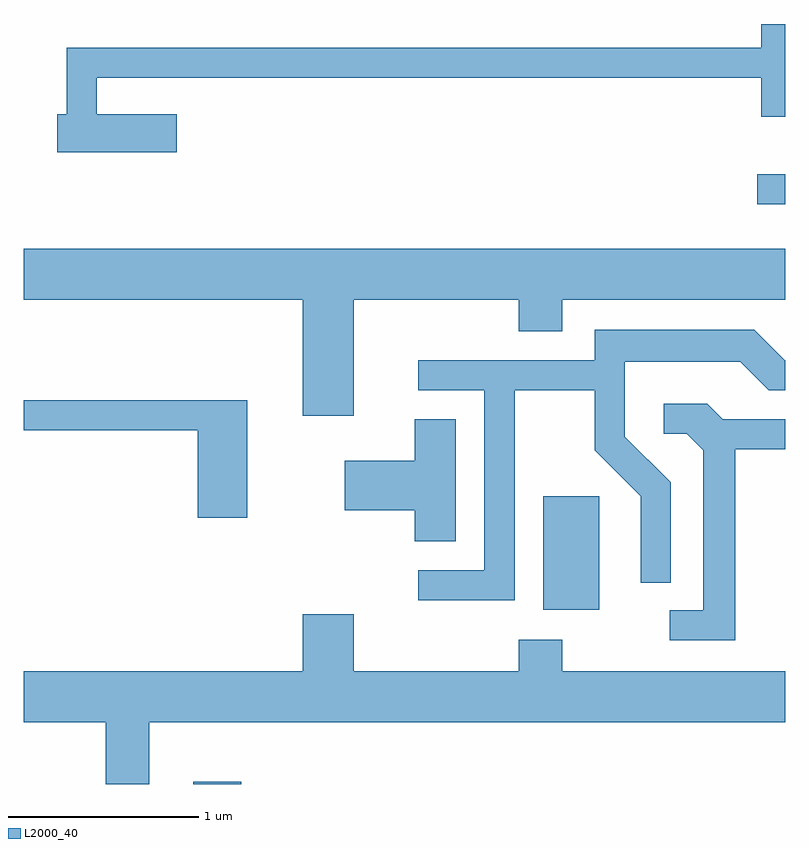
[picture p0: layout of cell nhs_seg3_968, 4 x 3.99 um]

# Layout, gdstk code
import gdstk
lib = gdstk.Library(unit=1e-6, precision=1e-09)
def R(c, l, rs):  # rectangles x0, y0, x1, y1
    for r in rs: c.add(gdstk.rectangle(r[:2], r[2:], *l))
def P(c, l, *ps):  # polygons
    for p in ps: c.add(gdstk.Polygon(p, *l))
L2000_40 = (2000, 40)

nhs_seg3_968 = lib.new_cell('nhs_seg3_968')
R(nhs_seg3_968, L2000_40, [(214.501,1147.892,214.754,1147.904), (216.341,1148.806,216.634,1149.404), (217.463,1150.936,217.611,1151.094)])
P(nhs_seg3_968, L2000_40, [(214.414,1151.409),(213.994,1151.409),(213.994,1151.601),(217.486,1151.601),(217.486,1151.396),(217.611,1151.396),(217.611,1151.884),(217.486,1151.884),(217.486,1151.759),(213.836,1151.759),(213.836,1151.409),(213.786,1151.409),(213.786,1151.211),(214.414,1151.211)],
  [(215.344,1150.436),(216.211,1150.436),(216.211,1150.271),(216.439,1150.271),(216.439,1150.436),(217.611,1150.436),(217.611,1150.704),(213.611,1150.704),(213.611,1150.436),(215.076,1150.436),(215.076,1149.826),(215.344,1149.826)],
  [(216.189,1149.961),(216.611,1149.961),(216.611,1149.644),(216.851,1149.404),(216.851,1148.948),(217.009,1148.948),(217.009,1149.477),(216.769,1149.717),(216.769,1150.111),(217.374,1150.111),(217.524,1149.961),(217.611,1149.961),(217.611,1150.119),(217.607,1150.119),(217.447,1150.279),(216.611,1150.279),(216.611,1150.119),(215.683,1150.119),(215.683,1149.961),(216.031,1149.961),(216.031,1149.014),(215.683,1149.014),(215.683,1148.856),(216.189,1148.856)],
  [(214.784,1149.909),(213.611,1149.909),(213.611,1149.751),(214.526,1149.751),(214.526,1149.291),(214.784,1149.291)],
  [(217.349,1149.651),(217.611,1149.651),(217.611,1149.809),(217.282,1149.809),(217.202,1149.889),(216.973,1149.889),(216.973,1149.731),(217.094,1149.731),(217.181,1149.644),(217.181,1148.804),(217.003,1148.804),(217.003,1148.646),(217.349,1148.646)],
  [(215.879,1149.809),(215.666,1149.809),(215.666,1149.589),(215.296,1149.589),(215.296,1149.331),(215.666,1149.331),(215.666,1149.166),(215.879,1149.166)],
  [(214.269,1148.216),(217.611,1148.216),(217.611,1148.484),(216.439,1148.484),(216.439,1148.649),(216.211,1148.649),(216.211,1148.484),(215.344,1148.484),(215.344,1148.784),(215.076,1148.784),(215.076,1148.484),(213.611,1148.484),(213.611,1148.216),(214.041,1148.216),(214.041,1147.892),(214.269,1147.892)])

lib.write_gds('nhs_seg3_968.gds')
